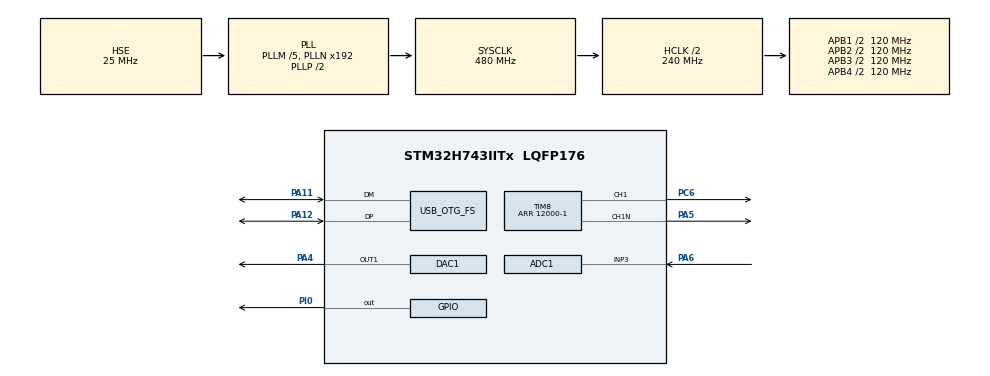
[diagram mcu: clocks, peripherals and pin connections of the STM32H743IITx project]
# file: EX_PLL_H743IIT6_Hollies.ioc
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ADC1.Channel-3\#ChannelRegularConversion=ADC_CHANNEL_3
ADC1.ClockPrescaler=ADC_CLOCK_ASYNC_DIV2
ADC1.ClockPrescalerADC3=ADC_CLOCK_ASYNC_DIV4
ADC1.ContinuousConvMode=ENABLE
ADC1.ConversionDataManagement=ADC_CONVERSIONDATA_DMA_CIRCULAR
ADC1.EOCSelection=ADC_EOC_SINGLE_CONV
ADC1.NbrOfConversionFlag=1
ADC1.OffsetNumber-3\#ChannelRegularConversion=ADC_OFFSET_NONE
ADC1.OffsetSignedSaturation-3\#ChannelRegularConversion=DISABLE
ADC1.Overrun=ADC_OVR_DATA_OVERWRITTEN
ADC1.OversamplingMode=ENABLE
ADC1.Rank-3\#ChannelRegularConversion=1
ADC1.Ratio=4
ADC1.RightBitShift=ADC_RIGHTBITSHIFT_2
ADC1.SamplingTime-3\#ChannelRegularConversion=ADC_SAMPLETIME_387CYCLES_5
ADC1.master=1
ADC3.Channel-0\#ChannelRegularConversion=ADC_CHANNEL_TEMPSENSOR
ADC3.ClockPrescalerADC3=ADC_CLOCK_ASYNC_DIV4
ADC3.NbrOfConversion=1
ADC3.NbrOfConversionFlag=1
ADC3.OffsetNumber-0\#ChannelRegularConversion=ADC_OFFSET_NONE
ADC3.OffsetSignedSaturation-0\#ChannelRegularConversion=DISABLE
ADC3.OversamplingMode=ENABLE
ADC3.Rank-0\#ChannelRegularConversion=1
ADC3.Ratio=15
ADC3.RightBitShift=ADC_RIGHTBITSHIFT_4
ADC3.SamplingTime-0\#ChannelRegularConversion=ADC_SAMPLETIME_810CYCLES_5
CORTEX_M7.AccessPermission_S-Cortex_Memory_Protection_Unit_Region1_Settings_S=MPU_REGION_FULL_ACCESS
CORTEX_M7.AccessPermission_Spec=MPU_REGION_FULL_ACCESS
CORTEX_M7.BaseAddress_S-Cortex_Memory_Protection_Unit_Region1_Settings_S=0x38000000
CORTEX_M7.BaseAddress_Spec=0x24000000
CORTEX_M7.CPU_DCache=Enabled
CORTEX_M7.CPU_ICache=Enabled
CORTEX_M7.DisableExec_Spec=MPU_INSTRUCTION_ACCESS_ENABLE
CORTEX_M7.Enable_S-Cortex_Memory_Protection_Unit_Region1_Settings_S=MPU_REGION_ENABLE
CORTEX_M7.IsBufferable_Spec=MPU_ACCESS_BUFFERABLE
CORTEX_M7.IsCacheable_S-Cortex_Memory_Protection_Unit_Region1_Settings_S=MPU_ACCESS_CACHEABLE
CORTEX_M7.IsCacheable_Spec=MPU_ACCESS_CACHEABLE
CORTEX_M7.IsShareable_Spec=MPU_ACCESS_NOT_SHAREABLE
CORTEX_M7.Size_S-Cortex_Memory_Protection_Unit_Region1_Settings_S=MPU_REGION_SIZE_64KB
CORTEX_M7.Size_Spec=MPU_REGION_SIZE_512KB
CORTEX_M7.SubRegionDisable_Spec=0x0
CORTEX_M7.TypeExtField_Spec=MPU_TEX_LEVEL1
CORTEX_M7.default_mode_Activation=1
DAC1.DAC_Channel-DAC_OUT1=DAC_CHANNEL_1
Dma.ADC1.0.Direction=DMA_PERIPH_TO_MEMORY
Dma.ADC1.0.EventEnable=DISABLE
Dma.ADC1.0.FIFOMode=DMA_FIFOMODE_DISABLE
Dma.ADC1.0.Instance=DMA1_Stream1
Dma.ADC1.0.MemDataAlignment=DMA_MDATAALIGN_HALFWORD
Dma.ADC1.0.MemInc=DMA_MINC_ENABLE
Dma.ADC1.0.Mode=DMA_CIRCULAR
Dma.ADC1.0.PeriphDataAlignment=DMA_PDATAALIGN_HALFWORD
Dma.ADC1.0.PeriphInc=DMA_PINC_DISABLE
Dma.ADC1.0.Polarity=HAL_DMAMUX_REQ_GEN_RISING
Dma.ADC1.0.Priority=DMA_PRIORITY_MEDIUM
Dma.ADC1.0.RequestNumber=1
Dma.ADC1.0.SignalID=NONE
Dma.ADC1.0.SyncEnable=DISABLE
Dma.ADC1.0.SyncPolarity=HAL_DMAMUX_SYNC_NO_EVENT
Dma.ADC1.0.SyncRequestNumber=1
Dma.ADC1.0.SyncSignalID=NONE
Dma.Request0=ADC1
Mcu.Family=STM32H7
Mcu.Name=STM32H743IITx
Mcu.Package=LQFP176
NVIC.DMA1_Stream1_IRQn=true\:0\:0\:false\:false\:true\:false\:true\:true
NVIC.OTG_FS_IRQn=true\:0\:0\:false\:false\:true\:false\:true\:true
NVIC.PriorityGroup=NVIC_PRIORITYGROUP_4
NVIC.TIM2_IRQn=true\:1\:0\:true\:false\:true\:true\:true\:true
NVIC.TIM6_DAC_IRQn=true\:15\:0\:false\:false\:true\:false\:true\:true
NVIC.TimeBase=TIM6_DAC_IRQn
NVIC.TimeBaseIP=TIM6
PA11.Mode=Device_Only
PA11.Signal=USB_OTG_FS_DM
PA12.Mode=Device_Only
PA12.Signal=USB_OTG_FS_DP
PA13\ (JTMS/SWDIO).Mode=Serial_Wire
PA13\ (JTMS/SWDIO).Signal=DEBUG_JTMS-SWDIO
PA14\ (JTCK/SWCLK).Mode=Serial_Wire
PA14\ (JTCK/SWCLK).Signal=DEBUG_JTCK-SWCLK
PA4.Signal=COMP_DAC11_group
PA5.GPIO_Speed=GPIO_SPEED_FREQ_VERY_HIGH
PA5.Mode=PWM Generation1 CH1 CH1N
PA5.Signal=TIM8_CH1N
PA6.Signal=ADCx_INP3
PC14-OSC32_IN\ (OSC32_IN).Mode=LSE-External-Oscillator
PC14-OSC32_IN\ (OSC32_IN).Signal=RCC_OSC32_IN
PC15-OSC32_OUT\ (OSC32_OUT).Mode=LSE-External-Oscillator
PC15-OSC32_OUT\ (OSC32_OUT).Signal=RCC_OSC32_OUT
PC6.GPIO_Speed=GPIO_SPEED_FREQ_VERY_HIGH
PC6.Signal=S_TIM8_CH1
PH0-OSC_IN\ (PH0).Mode=HSE-External-Oscillator
PH0-OSC_IN\ (PH0).Signal=RCC_OSC_IN
PH1-OSC_OUT\ (PH1).Mode=HSE-External-Oscillator
PH1-OSC_OUT\ (PH1).Signal=RCC_OSC_OUT
PI0.GPIO_PuPd=GPIO_NOPULL
PI0.Signal=GPIO_Output
ProjectManager.HeapSize=0x100
ProjectManager.StackSize=0x400
ProjectManager.TargetToolchain=STM32CubeIDE
RCC.ADCFreq_Value=72000000
RCC.APB1Freq_Value=120000000
RCC.APB2Freq_Value=120000000
RCC.APB3Freq_Value=120000000
RCC.APB4Freq_Value=120000000
RCC.CortexFreq_Value=480000000
RCC.D1PPRE=RCC_APB3_DIV2
RCC.D2PPRE1=RCC_APB1_DIV2
RCC.D2PPRE2=RCC_APB2_DIV2
RCC.D3PPRE=RCC_APB4_DIV2
RCC.DIVM1=5
RCC.DIVM2=25
RCC.DIVN1=192
RCC.DIVN2=504
RCC.DIVP2=7
RCC.DIVQ1=20
RCC.HCLKFreq_Value=240000000
RCC.HPRE=RCC_HCLK_DIV2
RCC.PLL2FRACN=0
RCC.PLLFRACN=0
RCC.PLLSourceVirtual=RCC_PLLSOURCE_HSE
RCC.SYSCLKFreq_VALUE=480000000
RCC.SYSCLKSource=RCC_SYSCLKSOURCE_PLLCLK
RCC.USBFreq_Value=48000000
SH.ADCx_INP3.0=ADC1_INP3,IN3-Single-Ended
SH.COMP_DAC11_group.0=DAC1_OUT1,DAC_OUT1
SH.S_TIM8_CH1.0=TIM8_CH1,PWM Generation1 CH1 CH1N
TIM2.Period=12000-1
TIM8.Channel-PWM\ Generation1\ CH1\ CH1N=TIM_CHANNEL_1
TIM8.OCFastMode_PWM-PWM\ Generation1\ CH1\ CH1N=TIM_OCFAST_ENABLE
TIM8.Period=12000-1
TIM8.Pulse-PWM\ Generation1\ CH1\ CH1N=6000
USB_DEVICE.CLASS_NAME_FS=CDC
USB_DEVICE.VirtualMode-CDC_FS=Cdc
USB_DEVICE.VirtualModeFS=Cdc_FS
USB_OTG_FS.VirtualMode=Device_Only
VP_ADC3_TempSens_Input.Mode=IN-TempSens
VP_SYS_VS_tim6.Mode=TIM6
VP_TIM2_VS_ClockSourceINT.Mode=Internal
VP_TIM8_VS_ClockSourceINT.Mode=Internal
VP_USB_DEVICE_VS_USB_DEVICE_CDC_FS.Mode=CDC_FS
board=custom

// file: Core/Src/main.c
/* USER CODE BEGIN Header */
/**
 ******************************************************************************
 * @file           : main.c
 * @brief          : Main program body
 ******************************************************************************
 * @attention
 *
 * Copyright (c) 2024 STMicroelectronics.
 * All rights reserved.
 *
 * This software is licensed under terms that can be found in the LICENSE file
 * in the root directory of this software component.
 * If no LICENSE file comes with this software, it is provided AS-IS.
 *
 ******************************************************************************
 */
/* USER CODE END Header */
#include "main.h"
#include "adc.h"
#include "dac.h"
#include "dma.h"
#include "tim.h"
#include "usb_device.h"
#include "gpio.h"

/* USER CODE BEGIN Includes */
#include "pll.h"
#include "stdlib.h"
#include "usbd_cdc_if.h"
#include "stdio.h"
/* USER CODE END Includes */

void SystemClock_Config(void);
void PeriphCommonClock_Config(void);
static void MPU_Config(void);

/* USER CODE BEGIN 0 */
// 定义信号和信号配置变量�?
pll_Signal *signal_1;
pll_Config *signal_config_1;
// 创建ADC数据空间
__attribute__((section("._D3_Area"))) uint16_t adcBuf[1] = {0};
// SPWM波调制比
float M = 0.9f;
/* USER CODE END 0 */

int main(void)
{

  /* MPU Configuration--------------------------------------------------------*/
  MPU_Config();
  /* Enable the CPU Cache */

  /* Enable I-Cache---------------------------------------------------------*/
  SCB_EnableICache();

  /* Enable D-Cache---------------------------------------------------------*/
  SCB_EnableDCache();

  /* MCU Configuration--------------------------------------------------------*/

  /* Reset of all peripherals, Initializes the Flash interface and the Systick. */
  HAL_Init();

  /* Configure the system clock */
  SystemClock_Config();

  /* Configure the peripherals common clocks */
  PeriphCommonClock_Config();

  /* Initialize all configured peripherals */
  MX_GPIO_Init();
  MX_DMA_Init();
  MX_USB_DEVICE_Init();
  MX_ADC1_Init();
  MX_DAC1_Init();
  MX_TIM2_Init();
  MX_ADC3_Init();
  MX_TIM8_Init();
  /* USER CODE BEGIN 2 */
  // 给变量分配存储空间�?
  signal_1 = (pll_Signal *)malloc(sizeof(pll_Signal));
  signal_config_1 = (pll_Config *)malloc(sizeof(pll_Config));
  uint16_t temprature = 0;
  float temp_result = 0;
  // 串口输出数组
  uint8_t buf[128] = {0};
  // 锁相环初始化
  pll_Init(signal_1, signal_config_1, 50, 20000);
  // DAC模拟输出初始化�?
  HAL_DAC_SetValue(&hdac1, DAC_CHANNEL_1, DAC_ALIGN_12B_R, 2048);
  HAL_DAC_Start(&hdac1, DAC_CHANNEL_1);
  // ADC校准并开启�?
  HAL_Delay(200);
  HAL_ADCEx_Calibration_Start(&hadc1, ADC_CALIB_OFFSET, ADC_SINGLE_ENDED);
  HAL_ADCEx_Calibration_Start(&hadc1, ADC_CALIB_OFFSET_LINEARITY, ADC_SINGLE_ENDED);
  HAL_ADC_Start_DMA(&hadc1, (uint32_t *)adcBuf, 1);
  HAL_Delay(1000);
  // 打开互补SPWM波
  HAL_TIM_PWM_Start(&htim8, TIM_CHANNEL_1);
  HAL_TIMEx_PWMN_Start(&htim8, TIM_CHANNEL_1);
  // 开启中断
  HAL_TIM_Base_Start_IT(&htim2);
  /* USER CODE END 2 */

  /* Infinite loop */
  while (1)
  {

    /* USER CODE BEGIN 3 */
    // MPU温度读取
    HAL_ADC_Start(&hadc3);
    if (HAL_ADC_PollForConversion(&hadc3, 10) == HAL_OK) // 判断是否转换完成
    {
      temprature = HAL_ADC_GetValue(&hadc3); // 读出转换结果
      temp_result = ((110.0 - 30.0) / (*(unsigned short *)(0x1FF1E840) - *(unsigned short *)(0x1FF1E820))) * (temprature - *(unsigned short *)(0x1FF1E820)) + 30;
    }
    // 虚拟串口输出日志
    sprintf((char *)buf, "x1=0,theta= %f,u0= %.3f, sogi_d= %.3f, sogi_q= %.3f, park_q= %.3f, park_d= %.3f, temprature= %.3f, \n", signal_1->theta, signal_1->u_0, signal_1->sogi_d_0, signal_1->sogi_q_0 / 382 * 3, signal_1->park_q, signal_1->park_d, temp_result);
    CDC_Transmit_FS((uint8_t *)buf, sizeof(buf));
    HAL_GPIO_TogglePin(GPIOI, GPIO_PIN_0);
    HAL_Delay(100);
  }
  // 释放内存
  pll_Clear(signal_1, signal_config_1);
  /* USER CODE END 3 */
}

void SystemClock_Config(void)
{
  RCC_OscInitTypeDef RCC_OscInitStruct = {0};
  RCC_ClkInitTypeDef RCC_ClkInitStruct = {0};

  /** Supply configuration update enable
   */
  HAL_PWREx_ConfigSupply(PWR_LDO_SUPPLY);

  /** Configure the main internal regulator output voltage
   */
  __HAL_PWR_VOLTAGESCALING_CONFIG(PWR_REGULATOR_VOLTAGE_SCALE1);

  while (!__HAL_PWR_GET_FLAG(PWR_FLAG_VOSRDY))
  {
  }

  __HAL_RCC_SYSCFG_CLK_ENABLE();
  __HAL_PWR_VOLTAGESCALING_CONFIG(PWR_REGULATOR_VOLTAGE_SCALE0);

  while (!__HAL_PWR_GET_FLAG(PWR_FLAG_VOSRDY))
  {
  }

  /** Initializes the RCC Oscillators according to the specified parameters
   * in the RCC_OscInitTypeDef structure.
   */
  RCC_OscInitStruct.OscillatorType = RCC_OSCILLATORTYPE_HSE;
  RCC_OscInitStruct.HSEState = RCC_HSE_ON;
  RCC_OscInitStruct.PLL.PLLState = RCC_PLL_ON;
  RCC_OscInitStruct.PLL.PLLSource = RCC_PLLSOURCE_HSE;
  RCC_OscInitStruct.PLL.PLLM = 5;
  RCC_OscInitStruct.PLL.PLLN = 192;
  RCC_OscInitStruct.PLL.PLLP = 2;
  RCC_OscInitStruct.PLL.PLLQ = 20;
  RCC_OscInitStruct.PLL.PLLR = 2;
  RCC_OscInitStruct.PLL.PLLRGE = RCC_PLL1VCIRANGE_2;
  RCC_OscInitStruct.PLL.PLLVCOSEL = RCC_PLL1VCOWIDE;
  RCC_OscInitStruct.PLL.PLLFRACN = 0;
  if (HAL_RCC_OscConfig(&RCC_OscInitStruct) != HAL_OK)
  {
    Error_Handler();
  }

  /** Initializes the CPU, AHB and APB buses clocks
   */
  RCC_ClkInitStruct.ClockType = RCC_CLOCKTYPE_HCLK | RCC_CLOCKTYPE_SYSCLK | RCC_CLOCKTYPE_PCLK1 | RCC_CLOCKTYPE_PCLK2 | RCC_CLOCKTYPE_D3PCLK1 | RCC_CLOCKTYPE_D1PCLK1;
  RCC_ClkInitStruct.SYSCLKSource = RCC_SYSCLKSOURCE_PLLCLK;
  RCC_ClkInitStruct.SYSCLKDivider = RCC_SYSCLK_DIV1;
  RCC_ClkInitStruct.AHBCLKDivider = RCC_HCLK_DIV2;
  RCC_ClkInitStruct.APB3CLKDivider = RCC_APB3_DIV2;
  RCC_ClkInitStruct.APB1CLKDivider = RCC_APB1_DIV2;
  RCC_ClkInitStruct.APB2CLKDivider = RCC_APB2_DIV2;
  RCC_ClkInitStruct.APB4CLKDivider = RCC_APB4_DIV2;

  if (HAL_RCC_ClockConfig(&RCC_ClkInitStruct, FLASH_LATENCY_4) != HAL_OK)
  {
    Error_Handler();
  }
}

void PeriphCommonClock_Config(void)
{
  RCC_PeriphCLKInitTypeDef PeriphClkInitStruct = {0};

  /** Initializes the peripherals clock
   */
  PeriphClkInitStruct.PeriphClockSelection = RCC_PERIPHCLK_ADC;
  PeriphClkInitStruct.PLL2.PLL2M = 25;
  PeriphClkInitStruct.PLL2.PLL2N = 504;
  PeriphClkInitStruct.PLL2.PLL2P = 7;
  PeriphClkInitStruct.PLL2.PLL2Q = 2;
  PeriphClkInitStruct.PLL2.PLL2R = 2;
  PeriphClkInitStruct.PLL2.PLL2RGE = RCC_PLL2VCIRANGE_0;
  PeriphClkInitStruct.PLL2.PLL2VCOSEL = RCC_PLL2VCOWIDE;
  PeriphClkInitStruct.PLL2.PLL2FRACN = 0;
  PeriphClkInitStruct.AdcClockSelection = RCC_ADCCLKSOURCE_PLL2;
  if (HAL_RCCEx_PeriphCLKConfig(&PeriphClkInitStruct) != HAL_OK)
  {
    Error_Handler();
  }
}

/* MPU Configuration */

void MPU_Config(void)
{
  MPU_Region_InitTypeDef MPU_InitStruct = {0};

  /* Disables the MPU */
  HAL_MPU_Disable();

  /** Initializes and configures the Region and the memory to be protected
   */
  MPU_InitStruct.Enable = MPU_REGION_ENABLE;
  MPU_InitStruct.Number = MPU_REGION_NUMBER0;
  MPU_InitStruct.BaseAddress = 0x24000000;
  MPU_InitStruct.Size = MPU_REGION_SIZE_512KB;
  MPU_InitStruct.SubRegionDisable = 0x0;
  MPU_InitStruct.TypeExtField = MPU_TEX_LEVEL1;
  MPU_InitStruct.AccessPermission = MPU_REGION_FULL_ACCESS;
  MPU_InitStruct.DisableExec = MPU_INSTRUCTION_ACCESS_ENABLE;
  MPU_InitStruct.IsShareable = MPU_ACCESS_NOT_SHAREABLE;
  MPU_InitStruct.IsCacheable = MPU_ACCESS_CACHEABLE;
  MPU_InitStruct.IsBufferable = MPU_ACCESS_BUFFERABLE;

  HAL_MPU_ConfigRegion(&MPU_InitStruct);

  /** Initializes and configures the Region and the memory to be protected
   */
  MPU_InitStruct.Number = MPU_REGION_NUMBER1;
  MPU_InitStruct.BaseAddress = 0x38000000;
  MPU_InitStruct.Size = MPU_REGION_SIZE_64KB;
  MPU_InitStruct.TypeExtField = MPU_TEX_LEVEL0;
  MPU_InitStruct.IsBufferable = MPU_ACCESS_NOT_BUFFERABLE;

  HAL_MPU_ConfigRegion(&MPU_InitStruct);
  /* Enables the MPU */
  HAL_MPU_Enable(MPU_PRIVILEGED_DEFAULT);
}

void HAL_TIM_PeriodElapsedCallback(TIM_HandleTypeDef *htim)
{
  if (htim->Instance == TIM6)
  {
    HAL_IncTick();
  }
  /* USER CODE BEGIN Callback 1 */
  if (htim->Instance == TIM2)
  {
    // 缓存adcBuf
    SCB_InvalidateDCache_by_Addr((uint32_t *)adcBuf, sizeof(adcBuf));
    signal_1->u_0 = adcBuf[0] * 3.3f / 65536.0f - 1.4f;
    // 锁相控制
    pll_Control(signal_1, signal_config_1);
    // 调节SPWM占空比
    __HAL_TIM_SET_COMPARE(&htim8, TIM_CHANNEL_1, M * (__HAL_TIM_GET_AUTORELOAD(&htim8) / 2.0f) * arm_sin_f32(signal_1->theta + PI / 2.f) + (__HAL_TIM_GET_AUTORELOAD(&htim8) / 2.0f));
    // DAC模拟输出，便于调试，不需要时可关闭
    HAL_DAC_SetValue(&hdac1, DAC_CHANNEL_1, DAC_ALIGN_12B_R, 2000.f * arm_sin_f32(signal_1->theta + PI / 2.f) + 2048.f);
  }
  /* USER CODE END Callback 1 */
}

void Error_Handler(void)
{
  __disable_irq();
  while (1)
  {
  }
}
